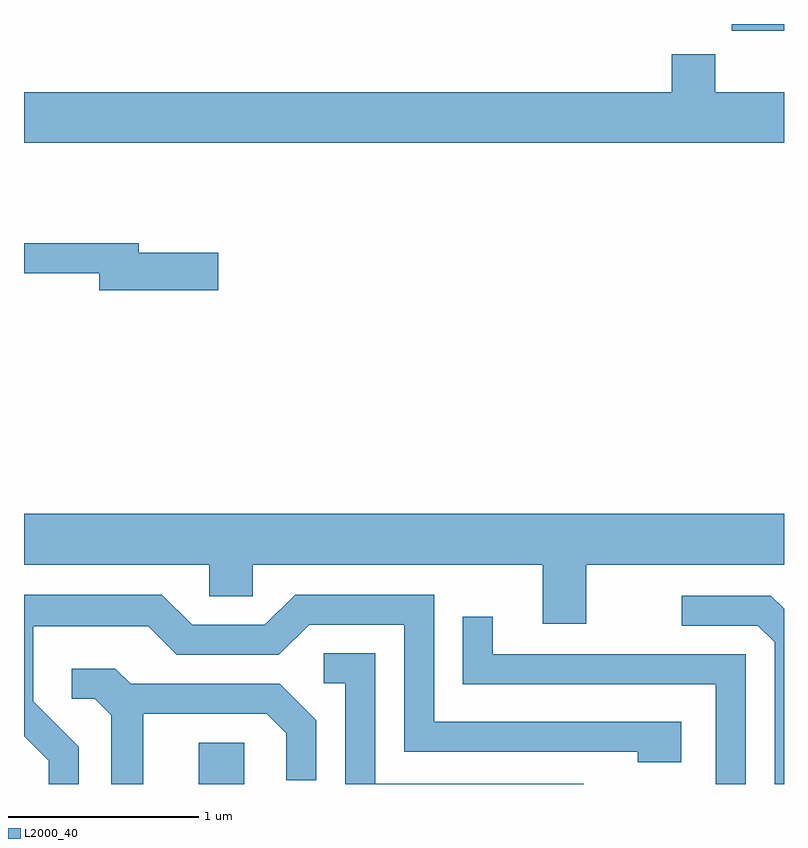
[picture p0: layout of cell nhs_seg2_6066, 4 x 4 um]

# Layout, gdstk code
import gdstk
lib = gdstk.Library(unit=1e-6, precision=1e-09)
def R(c, l, rs):  # rectangles x0, y0, x1, y1
    for r in rs: c.add(gdstk.rectangle(r[:2], r[2:], *l))
def P(c, l, *ps):  # polygons
    for p in ps: c.add(gdstk.Polygon(p, *l))
L2000_40 = (2000, 40)

nhs_seg2_6066 = lib.new_cell('nhs_seg2_6066')
R(nhs_seg2_6066, L2000_40, [(364.531,1073.802,364.769,1074.019), (367.336,1077.766,367.611,1077.802)])
P(nhs_seg2_6066, L2000_40, [(367.611,1077.444),(367.249,1077.444),(367.249,1077.644),(367.021,1077.644),(367.021,1077.444),(363.611,1077.444),(363.611,1077.176),(367.611,1077.176)],
  [(364.634,1076.599),(364.214,1076.599),(364.214,1076.649),(363.611,1076.649),(363.611,1076.491),(364.006,1076.491),(364.006,1076.401),(364.634,1076.401)],
  [(366.569,1074.956),(367.611,1074.956),(367.611,1075.224),(363.611,1075.224),(363.611,1074.956),(364.586,1074.956),(364.586,1074.791),(364.814,1074.791),(364.814,1074.956),(366.341,1074.956),(366.341,1074.646),(366.569,1074.646)],
  [(363.899,1073.997),(363.659,1074.237),(363.659,1074.631),(364.264,1074.631),(364.414,1074.481),(364.952,1074.481),(365.112,1074.641),(365.611,1074.641),(365.611,1073.971),(366.841,1073.971),(366.841,1073.916),(367.069,1073.916),(367.069,1074.129),(365.769,1074.129),(365.769,1074.799),(365.039,1074.799),(364.879,1074.639),(364.497,1074.639),(364.337,1074.799),(363.611,1074.799),(363.611,1074.054),(363.741,1073.924),(363.741,1073.802),(363.899,1073.802)],
  [(367.611,1074.725),(367.542,1074.794),(367.073,1074.794),(367.073,1074.636),(367.474,1074.636),(367.561,1074.549),(367.561,1073.802),(367.611,1073.802)],
  [(367.409,1074.484),(366.079,1074.484),(366.079,1074.683),(365.921,1074.683),(365.921,1074.326),(367.251,1074.326),(367.251,1073.802),(367.409,1073.802)],
  [(366.558,1073.804),(365.459,1073.804),(365.459,1074.489),(365.188,1074.489),(365.188,1074.331),(365.301,1074.331),(365.301,1073.802),(366.558,1073.802)],
  [(364.239,1074.171),(364.889,1074.171),(364.991,1074.069),(364.991,1073.823),(365.149,1073.823),(365.149,1074.137),(364.957,1074.329),(364.172,1074.329),(364.092,1074.409),(363.863,1074.409),(363.863,1074.251),(363.984,1074.251),(364.071,1074.164),(364.071,1073.802),(364.239,1073.802)])

lib.write_gds('nhs_seg2_6066.gds')
